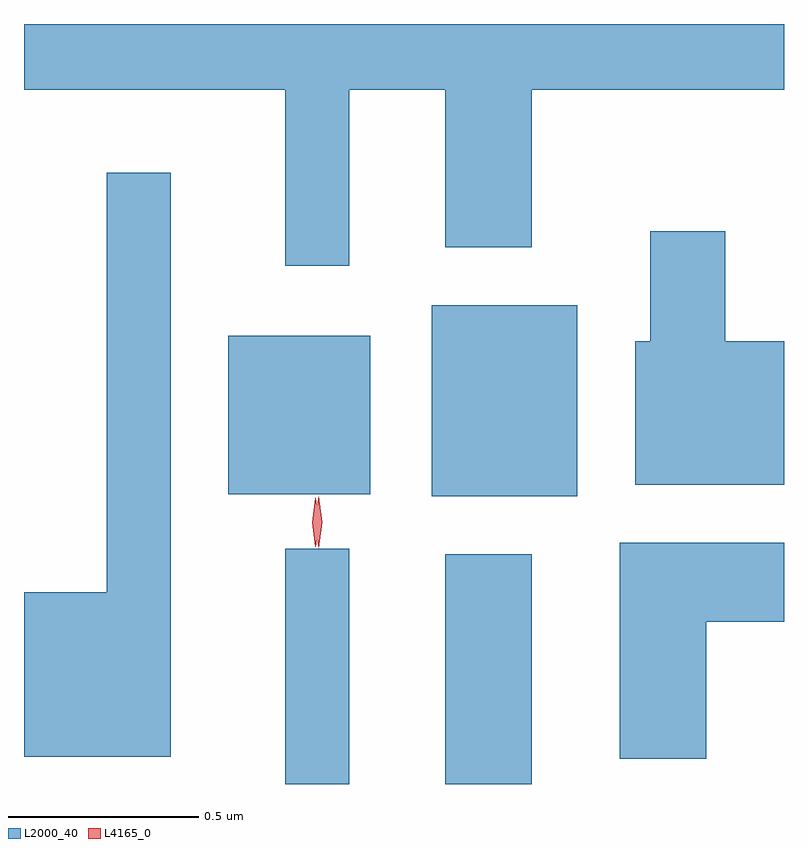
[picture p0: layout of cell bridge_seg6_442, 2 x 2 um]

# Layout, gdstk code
import gdstk
lib = gdstk.Library(unit=1e-6, precision=1e-09)
def R(c, l, rs):  # rectangles x0, y0, x1, y1
    for r in rs: c.add(gdstk.rectangle(r[:2], r[2:], *l))
def P(c, l, *ps):  # polygons
    for p in ps: c.add(gdstk.Polygon(p, *l))
L2000_40 = (2000, 40)
L4165_0 = (4165, 0)

bridge_seg6_442 = lib.new_cell('bridge_seg6_442')
R(bridge_seg6_442, L2000_40, [(909.021,1608.149,909.189,1608.768), (909.441,1608.149,909.669,1608.754), (909.406,1608.906,909.789,1609.409), (908.871,1608.911,909.244,1609.329)])
P(bridge_seg6_442, L2000_40, [(909.189,1609.976),(909.441,1609.976),(909.441,1609.561),(909.669,1609.561),(909.669,1609.976),(910.333,1609.976),(910.333,1610.149),(908.333,1610.149),(908.333,1609.976),(909.021,1609.976),(909.021,1609.513),(909.189,1609.513)],
  [(908.719,1609.758),(908.551,1609.758),(908.551,1608.654),(908.333,1608.654),(908.333,1608.221),(908.719,1608.221)],
  [(910.333,1609.314),(910.179,1609.314),(910.179,1609.604),(909.981,1609.604),(909.981,1609.314),(909.941,1609.314),(909.941,1608.936),(910.333,1608.936)],
  [(910.129,1608.576),(910.333,1608.576),(910.333,1608.784),(909.901,1608.784),(909.901,1608.216),(910.129,1608.216)])
P(bridge_seg6_442, L4165_0, [(909.108,1608.77),(909.108,1608.77),(909.098,1608.838),(909.108,1608.906),(909.108,1608.906),(909.109,1608.906),(909.118,1608.838),(909.109,1608.77)],
  [(909.1,1608.773),(909.091,1608.837),(909.1,1608.901),(909.1,1608.902),(909.101,1608.901),(909.11,1608.837),(909.101,1608.773),(909.101,1608.773)])

lib.write_gds('bridge_seg6_442.gds')
